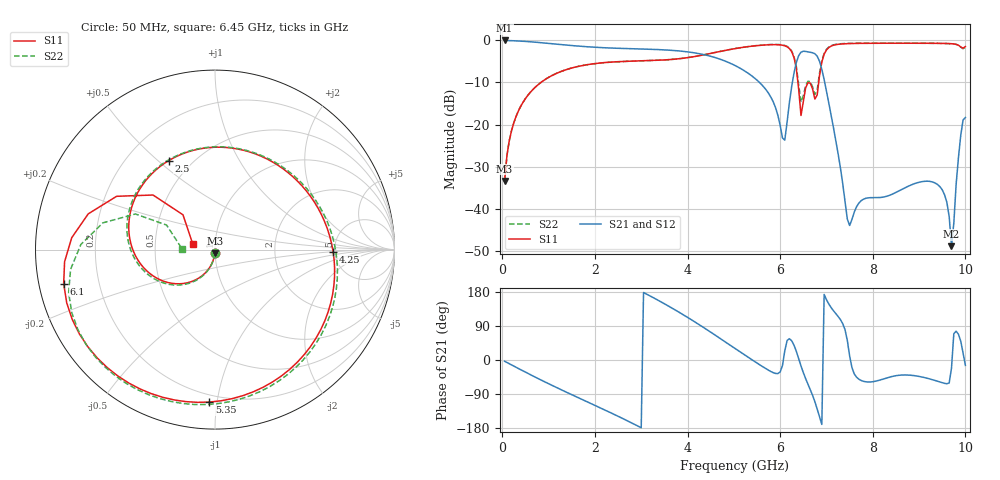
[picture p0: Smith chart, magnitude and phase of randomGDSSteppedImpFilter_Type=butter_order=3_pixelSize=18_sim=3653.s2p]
! freq	dB(S11)	phase(S11)	dB(S12)	phase(S12)
!  dB(S21)	phase(S21)	dB(S22)	phase(S22)
!S-par simulation data
#  GHz  S  DB  R 50
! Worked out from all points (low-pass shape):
!   200 points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, 50 MHz to 10 GHz, reference 50 ohm
!   highest |S21| = 0.00 dB at 50 MHz (marker M1); lowest = -48.9 dB at 9.7 GHz (marker M2)
!   |S21| within 3 dB of the highest: start of sweep to 4.177 GHz; 6.437 GHz to 6.715 GHz (277.8 MHz wide, 4.22 % of centre)
!   lowest |S11| = -33.4 dB at 50 MHz (marker M3), VSWR 1.04, Z = 49.8 - j2.13 ohm
!   |S11| at or under -10 dB: start of sweep to 833.1 MHz; 6.384 GHz to 6.832 GHz (448.4 MHz wide, 6.79 % of centre)
!   |S22| runs from -33.4 to -0.6 dB; largest |S21 - S12| = 0
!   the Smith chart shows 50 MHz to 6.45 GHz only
!   S11 on the Smith chart (normalised r, x): 50 MHz: 1.00, -0.04; 2.5 GHz: 0.38, +0.54; 4.25 GHz: 4.84, -0.19; 5.35 GHz: 0.16, -0.95; 6.1 GHz: 0.07, -0.11; 6.45 GHz: 0.78, +0.05
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0.05  -33.41 -93.3  -0.00 -3.3  -0.00 -3.3  -33.40 -93.2
0.2  -21.43 -103.5  -0.06 -13.0  -0.06 -13.0  -21.42 -102.9
0.5  -13.82 -123.3  -0.23 -32.0  -0.23 -32.0  -13.82 -122.0
1.75  -5.93 161.3  -1.44 -105.7  -1.44 -105.7  -5.93 166.2
2.5  -5.05 117.5  -1.87 -148.5  -1.87 -148.5  -5.06 124.6
3.4  -4.70 60.6  -2.19 155.3  -2.19 155.3  -4.71 69.2
4.25  -3.63 -1.0  -3.15 93.4  -3.15 93.4  -3.64 6.7
5.05  -1.89 -66.6  -6.10 28.4  -6.10 28.4  -1.89 -59.8
5.35  -1.41 -92.1  -8.12 3.9  -8.12 3.9  -1.39 -84.9
6.1  -1.27 -167.4  -23.71 24.2  -23.71 24.2  -1.19 -156.3
6.3  -4.10 151.6  -7.70 38.9  -7.70 38.9  -3.85 166.6
6.45  -17.84 165.6  -2.80 -15.6  -2.80 -15.6  -14.67 178.1
6.7  -11.52 -165.4  -2.93 -93.1  -2.93 -93.1  -11.00 -153.4
6.85  -8.35 -110.0  -4.96 -150.3  -4.96 -150.3  -7.78 -104.1
6.95  -3.28 -128.7  -9.31 173.0  -9.31 173.0  -3.07 -120.3
7.5  -0.74 164.3  -44.00 11.1  -44.00 11.1  -0.68 178.8
8.35  -0.67 109.8  -36.87 -45.6  -36.87 -45.6  -0.64 130.7
9.4  -0.69 52.1  -34.26 -56.1  -34.26 -56.1  -0.69 78.3
9.6  -0.73 41.4  -38.49 -62.7  -38.49 -62.7  -0.74 68.1
9.7  -0.78 35.9  -48.91 -21.7  -48.91 -21.7  -0.79 62.7
9.9  -1.55 24.8  -22.53 49.5  -22.53 49.5  -1.60 51.5
10  -1.46 26.9  -18.33 -14.2  -18.33 -14.2  -1.60 54.3
